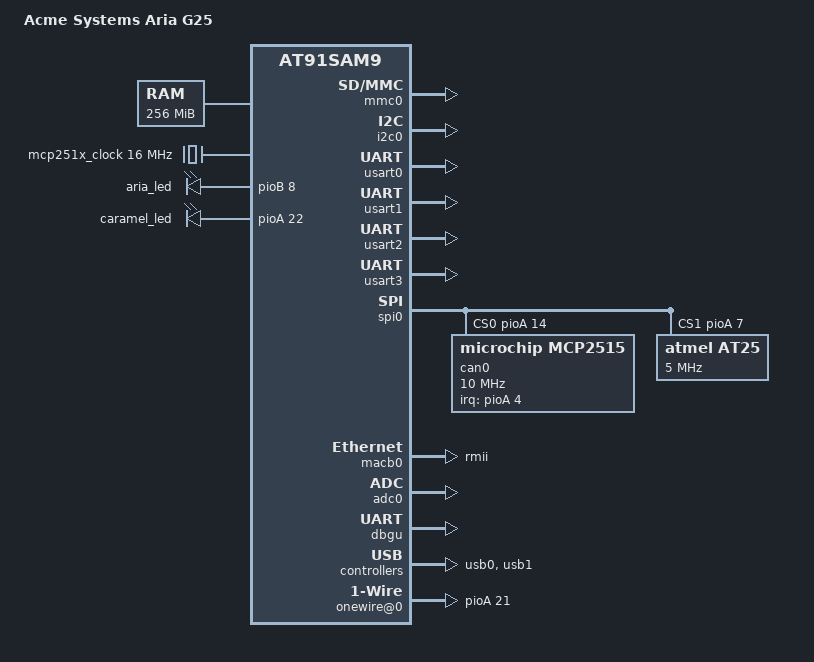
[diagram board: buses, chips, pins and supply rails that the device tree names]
/*
 * at91-ariag25.dts - Device Tree file for Acme Systems Aria G25
 *
 * Copyright (C) 2013 Douglas Gilbert <dgilbert@interlog.com>,
 *                    Robert Nelson <robertcnelson@gmail.com>
 * Copyright (C) 2015 Sergio Tanzilli <sergio@tanzilli.com>
 *
 * Licensed under GPLv2 or later. 
 */
/dts-v1/;
#include "at91sam9g25.dtsi"

/ {
	model = "Acme Systems Aria G25";
	compatible = "acme,ariag25", "atmel,at91sam9x5ek",
				"atmel,at91sam9x5", "atmel,at91sam9";

	aliases {
		serial0 = &dbgu;
		serial1 = &usart0;
		serial2 = &usart1;
		serial3 = &usart2;
		serial4 = &usart3;
		serial5 = &uart0;
		serial6 = &uart1;
	};

	chosen {
		bootargs = "mem=256M console=ttyS0,115200 root=/dev/mmcblk0p2 rootfstype=ext4 rootdelay=1";
	};

	memory {
		/* 128 MB Aria G25 version */
		/* reg = <0x20000000 0x8000000>; */
		/* 256 MB Aria G25 version */
		reg = <0x20000000 0x10000000>; 
	};


	clocks {
		#address-cells = <1>;
		#size-cells = <1>;
		ranges;

		main_clock: clock@0 {
			compatible = "atmel,osc", "fixed-clock";
				clock-frequency = <12000000>;
		};
		
		main_xtal { 
			clock-frequency = <12000000>; 
		}; 

                mcp251x_clock: oscillator {
		        compatible = "fixed-clock";
		 	#clock-cells = <0>;
        	 	clock-frequency = <16000000>;
		 	clock-output-names = "mcp_clk";
        	}; 
	};

	ahb {
		apb {
			mmc0: mmc@f0008000 {
				status = "okay";
				pinctrl-0 = <
				&pinctrl_mmc0_slot0_clk_cmd_dat0
				&pinctrl_mmc0_slot0_dat1_3>;
				slot@0 {
					reg = <0>;
					bus-width = <4>;
				};
			};

			i2c0: i2c@f8010000 {
				status = "okay";
			};

			i2c1: i2c@f8014000 {
				status = "disabled";
			};

			/* /dev/ttyS1 */
			usart0: serial@f801c000 {
				status = "okay";
				pinctrl-0 = <&pinctrl_usart0 &pinctrl_usart0_rts &pinctrl_usart0_cts>;
			};

			/* /dev/ttyS2 */
			usart1: serial@f8020000 {
				status = "okay";
				pinctrl-0 = <&pinctrl_usart1 &pinctrl_usart1_rts &pinctrl_usart1_cts>;
			};

			/* /dev/ttyS3 */
			usart2: serial@f8024000 {
				status = "okay";
				pinctrl-0 = <&pinctrl_usart2>;
			};

			/* /dev/ttyS4 */
			usart3: serial@f8028000 {
				status = "okay";
				compatible = "atmel,at91sam9260-usart";
				reg = <0xf8028000 0x200>;
				interrupts = <8 IRQ_TYPE_LEVEL_HIGH 5>;
				pinctrl-names = "default";
				pinctrl-0 = <&pinctrl_usart3 &pinctrl_usart3_rts &pinctrl_usart3_cts>;
			};

			/* /dev/ttyS5 */
			uart0: serial@f8040000 {
				status = "disabled";
			};

			/* /dev/ttyS6 */
			uart1: serial@f8044000 {
				status = "disabled";
			};

			spi0: spi@f0000000 {
				 status = "okay";
                                cs-gpios = <&pioA 14 0>, <&pioA 7 0>, <0>, <0>;

				can0: can@0 {

				      compatible = "microchip,mcp2515";
	      			      reg = <0>;
	      			      spi-max-frequency = <10000000>;	  
				      clocks = <&mcp251x_clock 0>;
				      interrupt-parent = <&pioA>;  
	      			      interrupts = <4 0x2>; 
				};

				at25@1 {
				       compatible = "atmel,at25", "st,m95256";
				       reg = <1>;
				       spi-max-frequency = <5000000>;

                		       pagesize = <64>;
                		       size = <32768>;
                		       address-width = <16>;
        			};

			};


			macb0: ethernet@f802c000 {
				status = "okay";
				phy-mode = "rmii";
				local-mac-address = [00 00 00 00 00 00];
			};

			adc0: adc@f804c000 {
				status = "okay";
				atmel,adc-channels-used = <0xf>;
				atmel,adc-num-channels = <4>;
			};

			dbgu: serial@fffff200 {
				status = "okay";
			};

			pinctrl@fffff400 {
				w1_0 {
					pinctrl_w1_0: w1_0-0 {
						atmel,pins = <0 21 0x0 0x1>; /* PA21 PIO, pull-up */
					};
				};
			};

			rtc@fffffeb0 {
				status = "okay";
			};
		};

		usb0: ohci@00600000 {
			status = "okay";
			num-ports = <3>;
		};

		usb1: ehci@00700000 {
			status = "okay";
		};
	};

	leds {
		compatible = "gpio-leds";

		/* little green LED in middle of Aria G25 module */
		aria_led {
			label = "aria_led";
			gpios = <&pioB 8 GPIO_ACTIVE_HIGH>; /* PB8 */
			linux,default-trigger = "heartbeat";
		};

		/* caramel led */
		caramel_led {
			label = "caramel_led";
			gpios = <&pioA 22 GPIO_ACTIVE_HIGH>; /* PA22 */
			linux,default-trigger = "heartbeat";
		};

	};

	onewire@0 {
		compatible = "w1-gpio";
		gpios = <&pioA 21 GPIO_ACTIVE_LOW>;
		pinctrl-names = "default";
		pinctrl-0 = <&pinctrl_w1_0>;
	};
};
